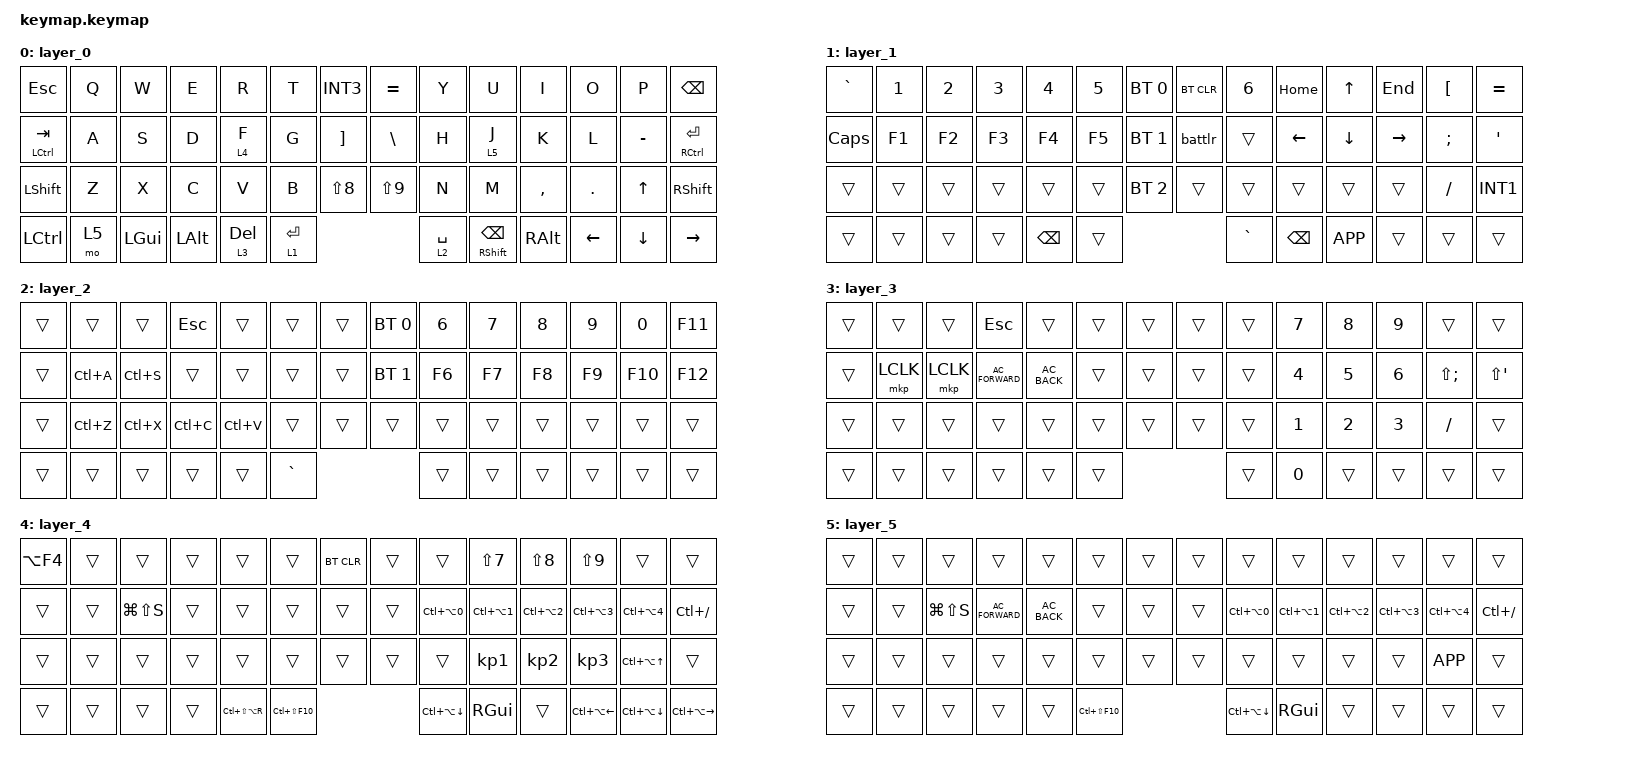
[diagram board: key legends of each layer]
#include <dt-bindings/zmk/mouse.h>
#include <behaviors/battery_lr_printer.dtsi>
#include <behaviors.dtsi>
#include <dt-bindings/zmk/bt.h>
#include <dt-bindings/zmk/keys.h>
#include <dt-bindings/zmk/pointing.h>

/ {
    behaviors {
        space_lt: space_layer_tap {
            compatible = "zmk,behavior-hold-tap";
            #binding-cells = <2>;
            flavor = "tap-preferred";
            tapping-term-ms = <200>;
            bindings = <&mo>, <&kp>;
        };

        bspc_mt: backspace_mod_tap {
            compatible = "zmk,behavior-hold-tap";
            #binding-cells = <2>;
            flavor = "tap-preferred";
            tapping-term-ms = <200>;
            bindings = <&kp>, <&kp>;
        };
    };

    keymap {
        compatible = "zmk,keymap";

        layer_0 {
            bindings = <
&kp ESC        &kp Q  &kp W     &kp E     &kp R      &kp T  &kp INT3     &kp EQUAL    &kp Y  &kp U           &kp I      &kp O     &kp P      &kp BSPC
&mt LCTRL TAB  &kp A  &kp S     &kp D     &lt 4 F    &kp G  &kp RBKT     &kp BSLH     &kp H  &lt 5 J         &kp K      &kp L     &kp MINUS  &mt RCTRL ENTER
&kp LSHFT      &kp Z  &kp X     &kp C     &kp V      &kp B  &kp LS(N8)   &kp LS(N9)   &kp N  &kp M           &kp COMMA  &kp DOT   &kp UP     &kp RSHFT
&kp LCTRL      &mo 5  &kp LGUI  &kp LALT  &lt 3 DEL         &lt 1 ENTER  &space_lt 2 SPACE   &bspc_mt RSHFT BSPC  &kp RALT   &kp LEFT  &kp DOWN   &kp RIGHT
            >;
        };

        layer_1 {
            bindings = <
&kp GRAVE  &kp N1  &kp N2  &kp N3  &kp N4    &kp N5  &bt BT_SEL 0  &bt BT_CLR  &kp N6  &kp HOME  &kp UP     &kp END    &kp LBKT  &kp EQUAL
&kp CAPS   &kp F1  &kp F2  &kp F3  &kp F4    &kp F5  &bt BT_SEL 1  &battlr     &trans  &kp LEFT  &kp DOWN   &kp RIGHT  &kp SEMI  &kp SQT
&trans     &trans  &trans  &trans  &trans    &trans  &bt BT_SEL 2  &trans      &trans  &trans    &trans     &trans     &kp FSLH  &kp INT1
&trans     &trans  &trans  &trans  &kp BSPC          &trans        &kp GRAVE           &kp BSPC  &kp K_APP  &trans     &trans    &trans
            >;
        };

        layer_2 {
            bindings = <
&trans  &trans     &trans     &kp ESC    &trans     &trans  &trans     &bt BT_SEL 0  &kp N6  &kp N7  &kp N8  &kp N9  &kp N0   &kp F11
&trans  &kp LC(A)  &kp LC(S)  &trans     &trans     &trans  &trans     &bt BT_SEL 1  &kp F6  &kp F7  &kp F8  &kp F9  &kp F10  &kp F12
&trans  &kp LC(Z)  &kp LC(X)  &kp LC(C)  &kp LC(V)  &trans  &trans     &trans        &trans  &trans  &trans  &trans  &trans   &trans
&trans  &trans     &trans     &trans     &trans             &kp GRAVE  &trans                &trans  &trans  &trans  &trans   &trans
            >;
        };

        layer_3 {
            bindings = <
&trans  &trans     &trans     &kp ESC           &trans         &trans  &trans  &trans  &trans  &kp N7  &kp N8  &kp N9  &trans        &trans
&trans  &mkp LCLK  &mkp LCLK  &kp C_AC_FORWARD  &kp C_AC_BACK  &trans  &trans  &trans  &trans  &kp N4  &kp N5  &kp N6  &kp LS(SEMI)  &kp LS(SQT)
&trans  &trans     &trans     &trans            &trans         &trans  &trans  &trans  &trans  &kp N1  &kp N2  &kp N3  &kp FSLH      &trans
&trans  &trans     &trans     &trans            &trans                 &trans  &trans          &kp N0  &trans  &trans  &trans        &trans
            >;
        };

        layer_4 {
            bindings = <
&kp LA(F4)  &trans  &trans         &trans  &trans             &trans  &bt BT_CLR       &trans            &trans          &kp LS(N7)      &kp LS(N8)      &kp LS(N9)        &trans            &trans
&trans      &trans  &kp LG(LS(S))  &trans  &trans             &trans  &trans           &trans            &kp LC(LA(N0))  &kp LC(LA(N1))  &kp LC(LA(N2))  &kp LC(LA(N3))    &kp LC(LA(N4))    &kp LC(FSLH)
&trans      &trans  &trans         &trans  &trans             &trans  &trans           &trans            &trans          &kp KP_N1       &kp KP_N2       &kp KP_N3         &kp LC(LA(UP))    &trans
&trans      &trans  &trans         &trans  &kp LC(LS(LA(R)))          &kp LC(LS(F10))  &kp LC(LA(DOWN))                  &kp RGUI        &trans          &kp LC(LA(LEFT))  &kp LC(LA(DOWN))  &kp LC(LA(RIGHT))
            >;
        };

        layer_5 {
            bindings = <
&trans  &trans  &trans         &trans            &trans         &trans  &trans           &trans            &trans          &trans          &trans          &trans          &trans          &trans
&trans  &trans  &kp LG(LS(S))  &kp C_AC_FORWARD  &kp C_AC_BACK  &trans  &trans           &trans            &kp LC(LA(N0))  &kp LC(LA(N1))  &kp LC(LA(N2))  &kp LC(LA(N3))  &kp LC(LA(N4))  &kp LC(FSLH)
&trans  &trans  &trans         &trans            &trans         &trans  &trans           &trans            &trans          &trans          &trans          &trans          &kp K_APP       &trans
&trans  &trans  &trans         &trans            &trans                 &kp LC(LS(F10))  &kp LC(LA(DOWN))                  &kp RGUI        &trans          &trans          &trans          &trans
            >;
        };
    };
};
